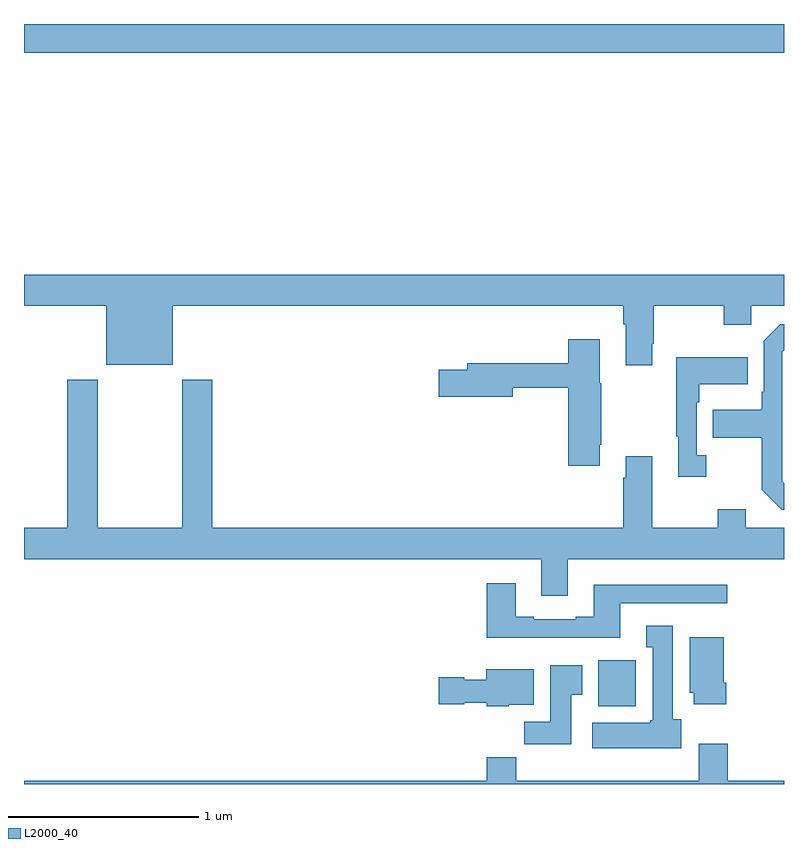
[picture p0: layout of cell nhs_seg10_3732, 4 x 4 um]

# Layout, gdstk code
import gdstk
lib = gdstk.Library(unit=1e-6, precision=1e-09)
def R(c, l, rs):  # rectangles x0, y0, x1, y1
    for r in rs: c.add(gdstk.rectangle(r[:2], r[2:], *l))
def P(c, l, *ps):  # polygons
    for p in ps: c.add(gdstk.Polygon(p, *l))
L2000_40 = (2000, 40)

nhs_seg10_3732 = lib.new_cell('nhs_seg10_3732')
R(nhs_seg10_3732, L2000_40, [(318.023,1264.91,318.22,1265.152), (315,1268.348,319,1268.5)])
P(nhs_seg10_3732, L2000_40, [(318.307,1266.817),(318.315,1266.817),(318.315,1267.016),(318.682,1267.016),(318.682,1266.917),(318.828,1266.917),(318.828,1267.016),(319,1267.016),(319,1267.18),(315,1267.18),(315,1267.016),(315.434,1267.016),(315.434,1266.707),(315.784,1266.707),(315.784,1267.016),(318.155,1267.016),(318.155,1266.92),(318.167,1266.92),(318.167,1266.705),(318.307,1266.705)],
  [(319,1266.083),(318.99,1266.093),(318.99,1266.774),(319,1266.784),(319,1266.921),(318.981,1266.921),(318.894,1266.834),(318.894,1266.565),(318.882,1266.565),(318.882,1266.469),(318.625,1266.469),(318.625,1266.322),(318.882,1266.322),(318.882,1266.049),(318.987,1265.943),(319,1265.943)],
  [(318.031,1266.286),(318.039,1266.286),(318.039,1266.609),(318.031,1266.609),(318.031,1266.841),(317.864,1266.841),(317.864,1266.715),(317.333,1266.715),(317.333,1266.681),(317.184,1266.681),(317.184,1266.539),(317.572,1266.539),(317.572,1266.586),(317.864,1266.586),(317.864,1266.174),(318.031,1266.174)],
  [(318.592,1266.23),(318.54,1266.23),(318.54,1266.509),(318.553,1266.509),(318.553,1266.605),(318.809,1266.605),(318.809,1266.745),(318.432,1266.745),(318.432,1266.329),(318.443,1266.329),(318.443,1266.117),(318.592,1266.117)],
  [(317.863,1265.684),(319,1265.684),(319,1265.848),(318.799,1265.848),(318.799,1265.947),(318.652,1265.947),(318.652,1265.848),(318.307,1265.848),(318.307,1266.226),(318.167,1266.226),(318.167,1266.113),(318.155,1266.113),(318.155,1265.848),(315.992,1265.848),(315.992,1266.628),(315.832,1266.628),(315.832,1265.848),(315.387,1265.848),(315.387,1266.628),(315.227,1266.628),(315.227,1265.848),(315,1265.848),(315,1265.684),(317.723,1265.684),(317.723,1265.49),(317.863,1265.49)],
  [(318.139,1265.451),(318.7,1265.451),(318.7,1265.548),(317.999,1265.548),(317.999,1265.38),(317.903,1265.38),(317.903,1265.367),(317.683,1265.367),(317.683,1265.38),(317.587,1265.38),(317.587,1265.557),(317.435,1265.557),(317.435,1265.27),(318.139,1265.27)],
  [(318.46,1264.842),(318.415,1264.842),(318.415,1265.332),(318.275,1265.332),(318.275,1265.219),(318.308,1265.219),(318.308,1264.836),(318.295,1264.836),(318.295,1264.822),(317.991,1264.822),(317.991,1264.688),(318.46,1264.688)],
  [(318.695,1265.032),(318.682,1265.032),(318.682,1265.272),(318.503,1265.272),(318.503,1264.98),(318.524,1264.98),(318.524,1264.92),(318.695,1264.92)],
  [(317.881,1264.969),(317.938,1264.969),(317.938,1265.125),(317.771,1265.125),(317.771,1264.828),(317.632,1264.828),(317.632,1264.71),(317.881,1264.71)],
  [(317.55,1264.916),(317.683,1264.916),(317.683,1265.104),(317.432,1265.104),(317.432,1265.05),(317.316,1265.05),(317.316,1265.063),(317.184,1265.063),(317.184,1264.921),(317.316,1264.921),(317.316,1264.928),(317.436,1264.928),(317.436,1264.91),(317.55,1264.91)],
  [(319,1264.516),(318.704,1264.516),(318.704,1264.711),(318.551,1264.711),(318.551,1264.516),(317.591,1264.516),(317.591,1264.64),(317.435,1264.64),(317.435,1264.516),(315,1264.516),(315,1264.5),(319,1264.5)])

lib.write_gds('nhs_seg10_3732.gds')
